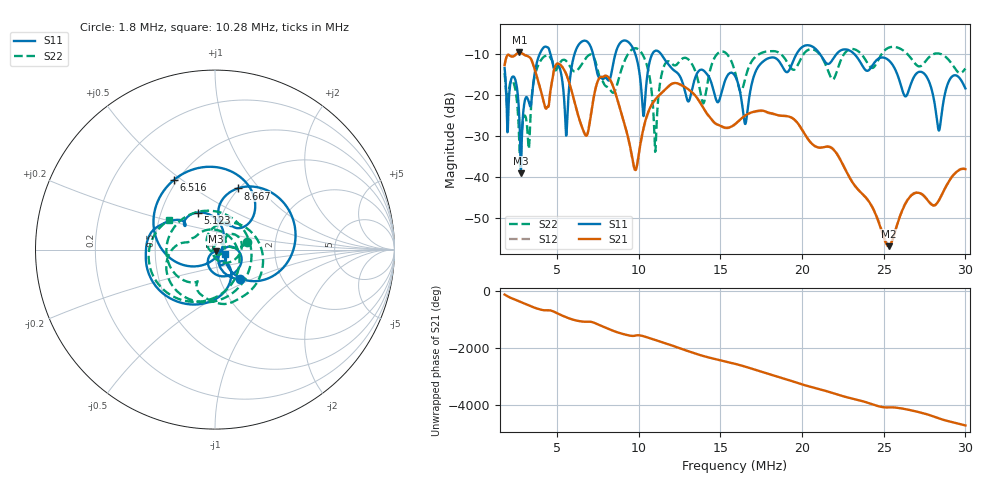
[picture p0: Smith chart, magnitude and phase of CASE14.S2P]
!Agilent Technologies,E5061B,MY49101568,A.02.00
!Date: Wed Mar 01 16:36:03 2023
!Data & Calibration Information:
!Freq	S11:SOLT2(OFF)	S21:SOLT2(OFF)	S12:SOLT2(OFF)	S22:SOLT2(OFF)
# Hz S dB R 50
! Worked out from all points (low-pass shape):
!   1155 points, 1.8 MHz to 30 MHz, reference 50 ohm
!   highest |S21| = -9.54 dB at 2.704 MHz (marker M1); lowest = -57.0 dB at 25.31 MHz (marker M2)
!   |S21| within 3 dB of the highest: 1.805 MHz to 3.55 MHz (1.745 MHz wide, 65.2 % of centre); 4.942 MHz to 5.19 MHz (248 kHz wide, 4.89 % of centre)
!   lowest |S11| = -39.2 dB at 2.802 MHz (marker M3), VSWR 1.02, Z = 50.5 - j0.964 ohm
!   |S11| at or under -10 dB: start of sweep to 3.942 MHz; 11.38 MHz to 19.66 MHz (8.274 MHz wide, 53.3 % of centre); 23.22 MHz to end of sweep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
!   |S22| runs from -38.0 to -8.2 dB; largest |S21 - S12| = 0.0037
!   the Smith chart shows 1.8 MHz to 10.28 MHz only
!   S11 on the Smith chart (normalised r, x): 1.8 MHz: 1.24, -0.43; 5.123 MHz: 0.76, +0.33; 6.516 MHz: 0.48, +0.47; 8.667 MHz: 0.99, +0.77; 10.28 MHz: 1.11, -0.05
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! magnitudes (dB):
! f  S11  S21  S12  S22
! 1.8 MHz  -13.4  -12.7  -12.7  -14.6
! 2.704 MHz  -25.9  -9.5  -9.5  -32.2
! 2.802 MHz  -39.2  -9.6  -9.6  -33.6
! 4.048 MHz  -9.1  -19.3  -19.5  -11.3
! 5.123 MHz  -12.9  -12.4  -12.3  -12.6
! 5.588 MHz  -29.7  -15.0  -15.0  -11.7
! 6.516 MHz  -6.9  -27.6  -27.6  -12.5
! 8.667 MHz  -8.8  -20.6  -20.6  -17.7
! 9.766 MHz  -9.6  -38.2  -38.3  -8.5
! 10.28 MHz  -24.6  -28.5  -28.7  -10.3
! 10.99 MHz  -9.2  -21.2  -21.4  -31.8
! 11.21 MHz  -9.3  -20.2  -20.3  -20.6
! 13.04 MHz  -21.6  -18.6  -18.6  -11.2
! 13.95 MHz  -13.9  -23.0  -23.0  -22.0
! 14.85 MHz  -21.8  -27.2  -27.3  -9.8
! 15.9 MHz  -15.3  -27.1  -27.2  -14.3
! 16.54 MHz  -27.1  -25.0  -25.0  -15.8
! 17.46 MHz  -12.3  -23.8  -23.9  -9.8
! 20.62 MHz  -8.1  -32.0  -32.0  -8.8
! 25.31 MHz  -11.5  -57.0  -56.8  -8.4
! 28.36 MHz  -28.6  -45.9  -45.9  -9.8
! 30 MHz  -18.4  -38.2  -38.1  -13.5
